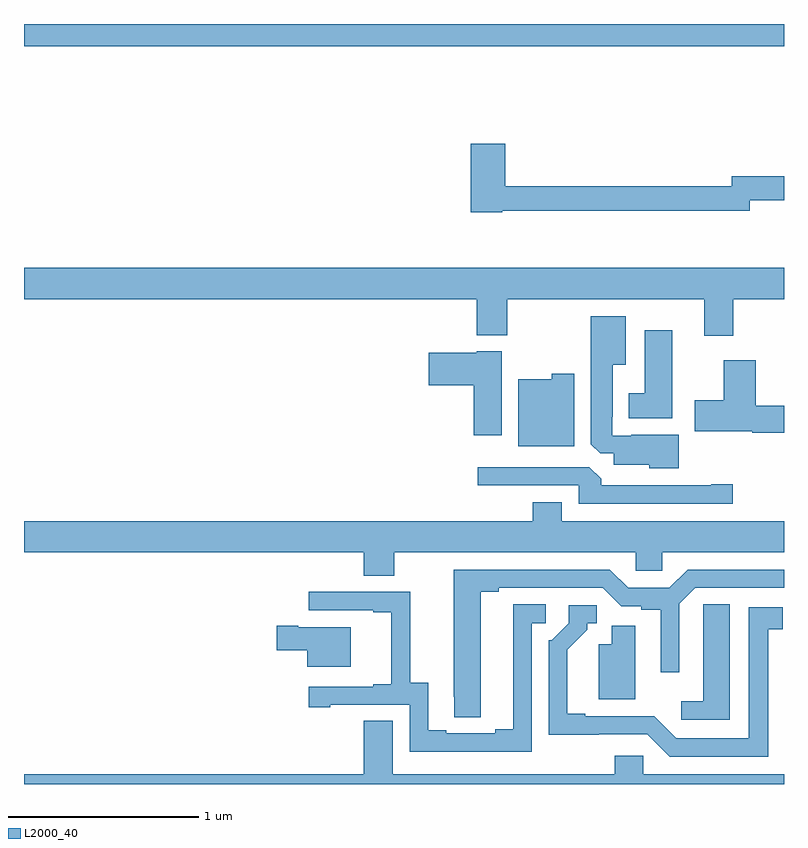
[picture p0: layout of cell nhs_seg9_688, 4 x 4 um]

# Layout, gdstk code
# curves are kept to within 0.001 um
import gdstk
lib = gdstk.Library(unit=1e-6, precision=1e-09)
def R(c, l, rs):  # rectangles x0, y0, x1, y1
    for r in rs: c.add(gdstk.rectangle(r[:2], r[2:], *l))
def P(c, l, *ps):  # polygons
    for p in ps: c.add(gdstk.Polygon(p, *l))
L2000_40 = (2000, 40)

nhs_seg9_688 = lib.new_cell('nhs_seg9_688')
R(nhs_seg9_688, L2000_40, [(145,1232.384,149,1232.5)])
P(nhs_seg9_688, L2000_40, [(147.516,1231.518),(148.821,1231.518),(148.821,1231.572),(149,1231.572),(149,1231.7),(148.725,1231.7),(148.725,1231.646),(147.533,1231.646),(147.533,1231.87),(147.35,1231.87),(147.35,1231.51),(147.516,1231.51)],
  [(148.733,1231.052),(149,1231.052),(149,1231.216),(145,1231.216),(145,1231.052),(147.383,1231.052),(147.383,1230.863),(147.543,1230.863),(147.543,1231.052),(148.58,1231.052),(148.58,1230.858),(148.733,1230.858)],
  [(148.447,1230.337),(148.195,1230.337),(148.195,1230.333),(148.095,1230.333),(148.095,1230.433),(148.099,1230.433),(148.099,1230.707),(148.168,1230.707),(148.168,1230.961),(147.983,1230.961),(147.983,1230.289),(148.032,1230.24),(148.103,1230.24),(148.103,1230.179),(148.29,1230.179),(148.29,1230.161),(148.447,1230.161)],
  [(148.411,1230.889),(148.268,1230.889),(148.268,1230.556),(148.184,1230.556),(148.184,1230.425),(148.411,1230.425)],
  [(147.514,1230.778),(147.384,1230.778),(147.384,1230.769),(147.129,1230.769),(147.129,1230.599),(147.368,1230.599),(147.368,1230.336),(147.514,1230.336)],
  [(149,1230.491),(148.85,1230.491),(148.85,1230.73),(148.682,1230.73),(148.682,1230.519),(148.53,1230.519),(148.53,1230.356),(148.833,1230.356),(148.833,1230.349),(149,1230.349)],
  [(147.895,1230.658),(147.777,1230.658),(147.777,1230.631),(147.602,1230.631),(147.602,1230.278),(147.895,1230.278)],
  [(148.729,1230.077),(148.616,1230.077),(148.616,1230.072),(148.037,1230.072),(148.037,1230.106),(147.975,1230.168),(147.387,1230.168),(147.387,1230.072),(147.921,1230.072),(147.921,1229.976),(148.729,1229.976)],
  [(146.949,1229.72),(148.221,1229.72),(148.221,1229.622),(148.359,1229.622),(148.359,1229.72),(149,1229.72),(149,1229.884),(147.829,1229.884),(147.829,1229.983),(147.677,1229.983),(147.677,1229.884),(145,1229.884),(145,1229.72),(146.789,1229.72),(146.789,1229.596),(146.949,1229.596)],
  [(147.403,1229.512),(147.499,1229.512),(147.499,1229.532),(148.047,1229.532),(148.143,1229.436),(148.248,1229.436),(148.248,1229.416),(148.352,1229.416),(148.352,1229.088),(148.449,1229.088),(148.449,1229.448),(148.533,1229.532),(149,1229.532),(149,1229.628),(148.493,1229.628),(148.397,1229.532),(148.179,1229.532),(148.083,1229.628),(147.263,1229.628),(147.264,1228.852),(147.403,1228.852)],
  [(147.672,1229.346),(147.745,1229.346),(147.745,1229.447),(147.575,1229.447),(147.575,1228.787),(147.479,1228.787),(147.479,1228.767),(147.223,1228.767),(147.223,1228.782),(147.127,1228.782),(147.127,1229.033),(147.033,1229.033),(147.033,1229.511),(146.499,1229.511),(146.499,1229.415),(146.837,1229.415),(146.837,1229.403),(146.933,1229.403),(146.933,1229.026),(146.837,1229.026),(146.837,1229.013),(146.499,1229.013),(146.499,1228.905),(146.611,1228.905),(146.611,1228.917),(147.03,1228.917),(147.03,1228.671),(147.672,1228.671)],
  [(148.714,1229.447),(148.575,1229.447),(148.575,1229.339),(148.574,1229.339),(148.574,1228.936),(148.458,1228.936),(148.458,1228.839),(148.714,1228.839)],
  [(148.918,1229.314),(148.993,1229.314),(148.993,1229.43),(148.814,1229.43),(148.814,1228.74),(148.434,1228.74),(148.317,1228.857),(147.955,1228.857),(147.955,1228.87),(147.859,1228.87),(147.859,1229.206),(147.964,1229.311),(147.964,1229.346),(148.014,1229.346),(148.014,1229.442),(147.867,1229.442),(147.867,1229.346),(147.777,1229.256),(147.762,1229.256),(147.762,1228.76),(148.281,1228.761),(148.398,1228.644),(148.918,1228.644)],
  [(146.719,1229.326),(146.443,1229.326),(146.443,1229.334),(146.331,1229.334),(146.331,1229.204),(146.492,1229.204),(146.492,1229.117),(146.719,1229.117)],
  [(148.216,1229.334),(148.094,1229.334),(148.094,1229.236),(148.025,1229.236),(148.025,1228.946),(148.216,1228.946)],
  [(145,1228.5),(149,1228.5),(149,1228.552),(148.26,1228.552),(148.26,1228.65),(148.109,1228.65),(148.109,1228.552),(146.941,1228.552),(146.941,1228.832),(146.789,1228.832),(146.789,1228.552),(145,1228.552)])

lib.write_gds('nhs_seg9_688.gds')
